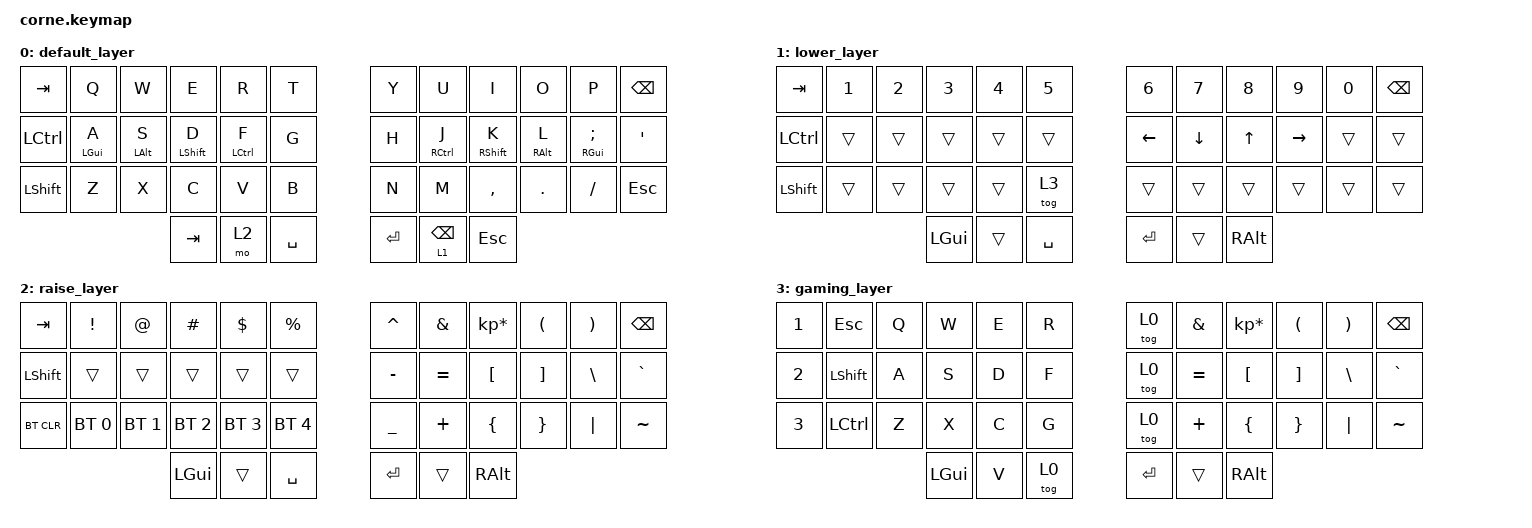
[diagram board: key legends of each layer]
/*
 * Copyright (c) 2020 The ZMK Contributors
 *
 * SPDX-License-Identifier: MIT
 */

#include <behaviors.dtsi>
#include <dt-bindings/zmk/keys.h>
#include <dt-bindings/zmk/bt.h>

/ {
		behaviors {
			hm: homerow_mods {
				compatible = "zmk,behavior-hold-tap";
				#binding-cells = <2>;
				tapping-term-ms = <150>;
				quick-tap-ms = <0>;
				flavor = "tap-preferred";
				bindings = <&kp>, <&kp>;
			};
		};

        keymap {
                compatible = "zmk,keymap";

                default_layer {
                        bindings = <
   &kp TAB   &kp Q &kp W &kp E &kp R &kp T   &kp Y &kp U  &kp I     &kp O   &kp P    &kp BSPC
   &kp LCTRL &hm LGUI A &hm LALT S &hm LSHIFT D &hm LCTRL F &kp G   &kp H &hm RCTRL J  &hm RSHIFT K  &hm RALT L   &hm RGUI SEMI &kp SQT
   &kp LSHFT &kp Z &kp X &kp C &kp V &kp B   &kp N &kp M  &kp COMMA &kp DOT &kp FSLH &kp ESC
                  &kp TAB &mo 2 &kp SPACE   &kp RET &lt 1 BSPC &kp ESC
                        >;
                };
                lower_layer {
                        bindings = <
   &kp TAB    &kp N1       &kp N2       &kp N3       &kp N4       &kp N5         &kp N6   &kp N7   &kp N8 &kp N9    &kp N0 &kp BSPC
   &kp LCTRL &trans   &trans &trans   &trans   &trans   &kp LEFT &kp DOWN &kp UP &kp RIGHT &trans &trans
   &kp LSHFT  &trans       &trans       &trans       &trans       &tog 3         &trans   &trans   &trans &trans    &trans &trans
                                    &kp LGUI     &trans       &kp SPACE      &kp RET  &trans   &kp RALT
                        >;
                };

                raise_layer {
                        bindings = <
   &kp  TAB  &kp EXCL &kp AT &kp HASH &kp DLLR &kp PRCNT   &kp CARET &kp AMPS  &kp KP_MULTIPLY &kp LPAR &kp RPAR &kp BSPC
   &kp LSHFT &trans   &trans &trans   &trans   &trans      &kp MINUS &kp EQUAL &kp LBKT        &kp RBKT &kp BSLH &kp GRAVE
   &bt BT_CLR &bt BT_SEL 0 &bt BT_SEL 1 &bt BT_SEL 2 &bt BT_SEL 3 &bt BT_SEL 4      &kp UNDER &kp PLUS  &kp LBRC        &kp RBRC &kp PIPE &kp TILDE
                             &kp LGUI &trans   &kp SPACE   &kp RET   &trans    &kp RALT
                        >;
                };

				gaming_layer {
                        bindings = <
   &kp N1 &kp ESC &kp Q &kp W &kp E &kp R   &tog 0 &kp AMPS  &kp KP_MULTIPLY &kp LPAR &kp RPAR &kp BSPC
   &kp N2 &kp LSHIFT &kp A &kp S &kp D &kp F    &tog 0 &kp EQUAL &kp LBKT        &kp RBKT &kp BSLH &kp GRAVE
   &kp N3 &kp LCTRL &kp Z &kp X &kp C &kp G     &tog 0 &kp PLUS  &kp LBRC        &kp RBRC &kp PIPE &kp TILDE
                             &kp LGUI &kp V   &tog 0   &kp RET   &trans    &kp RALT
                        >;

				};
        };
};
